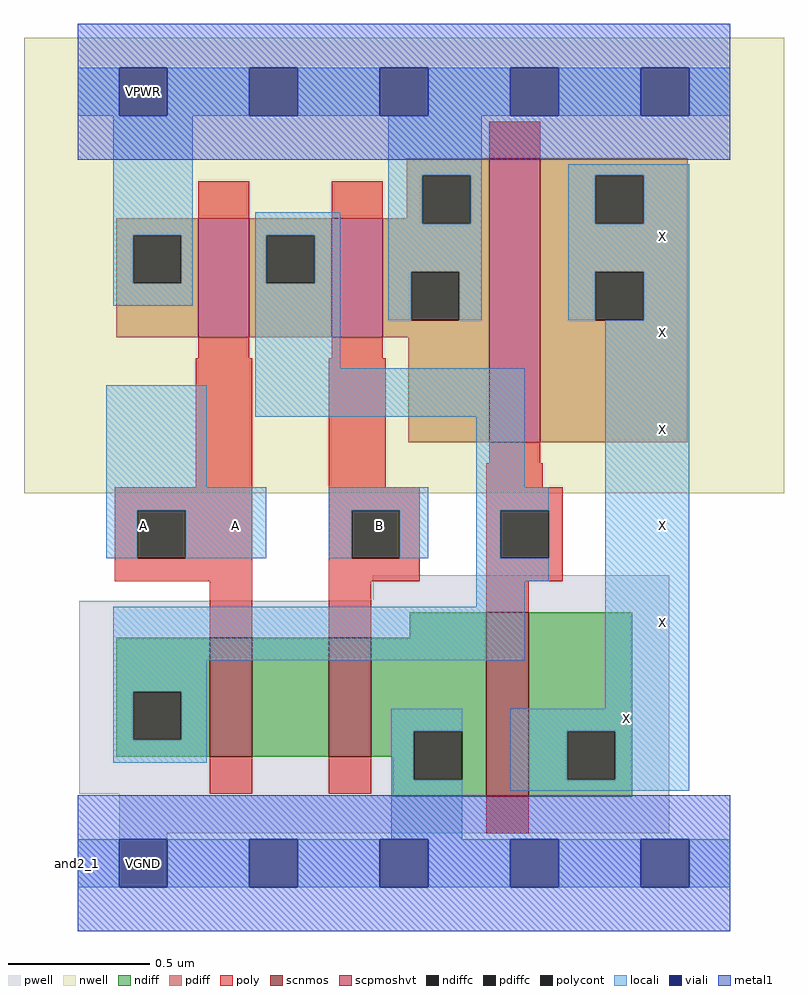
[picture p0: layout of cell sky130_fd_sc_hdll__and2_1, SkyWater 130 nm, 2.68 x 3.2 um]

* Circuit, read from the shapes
.subckt sky130_fd_sc_hdll__and2_1 A B VGND VNB VPB VPWR X
XM1 n1 A n2 VNB sky130_fd_pr__nfet_01v8 w=0.42 l=0.15
XM2 VGND B n1 VNB sky130_fd_pr__nfet_01v8 w=0.42 l=0.15
XM3 X n2 VGND VNB sky130_fd_pr__nfet_01v8 w=0.65 l=0.15
XM4 n2 A VPWR VPB sky130_fd_pr__pfet_01v8_hvt w=0.42 l=0.18
XM5 VPWR B n2 VPB sky130_fd_pr__pfet_01v8_hvt w=0.42 l=0.18
XM6 X n2 VPWR VPB sky130_fd_pr__pfet_01v8_hvt w=1 l=0.18
.ends

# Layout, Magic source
magic
tech sky130A
magscale 1 2
<< nwell >>
rect -38 261 498 582
<< pwell >>
rect 208 185 417 203
rect 1 49 417 185
rect 29 21 417 49
rect 29 -17 63 21
<< scnmos >>
rect 93 75 123 159
rect 177 75 207 159
rect 288 47 318 177
<< scpmoshvt >>
rect 85 371 121 455
rect 179 371 215 455
rect 290 297 326 497
<< ndiff >>
rect 234 159 288 177
rect 27 121 93 159
rect 27 87 39 121
rect 73 87 93 121
rect 27 75 93 87
rect 123 75 177 159
rect 207 93 288 159
rect 207 75 237 93
rect 222 59 237 75
rect 271 59 288 93
rect 222 47 288 59
rect 318 93 391 177
rect 318 59 345 93
rect 379 59 391 93
rect 318 47 391 59
<< pdiff >>
rect 232 485 290 497
rect 232 455 243 485
rect 27 443 85 455
rect 27 409 39 443
rect 73 409 85 443
rect 27 371 85 409
rect 121 443 179 455
rect 121 409 133 443
rect 167 409 179 443
rect 121 371 179 409
rect 215 451 243 455
rect 277 451 290 485
rect 215 417 290 451
rect 215 383 235 417
rect 269 383 290 417
rect 215 371 290 383
rect 233 297 290 371
rect 326 485 430 497
rect 326 451 365 485
rect 399 451 430 485
rect 326 417 430 451
rect 326 383 365 417
rect 399 383 430 417
rect 326 297 430 383
<< ndiffc >>
rect 39 87 73 121
rect 237 59 271 93
rect 345 59 379 93
<< pdiffc >>
rect 39 409 73 443
rect 133 409 167 443
rect 243 451 277 485
rect 235 383 269 417
rect 365 451 399 485
rect 365 383 399 417
<< poly >>
rect 290 497 326 523
rect 85 455 121 481
rect 179 455 215 481
rect 85 356 121 371
rect 179 356 215 371
rect 83 265 123 356
rect 26 249 123 265
rect 26 215 42 249
rect 76 215 123 249
rect 26 199 123 215
rect 93 159 123 199
rect 177 265 217 356
rect 290 282 326 297
rect 288 265 328 282
rect 177 249 241 265
rect 177 215 193 249
rect 227 215 241 249
rect 177 199 241 215
rect 288 249 342 265
rect 288 215 298 249
rect 332 215 342 249
rect 288 199 342 215
rect 177 159 207 199
rect 288 177 318 199
rect 93 49 123 75
rect 177 49 207 75
rect 288 21 318 47
<< polycont >>
rect 42 215 76 249
rect 193 215 227 249
rect 298 215 332 249
<< locali >>
rect 0 527 29 561
rect 63 527 121 561
rect 155 527 213 561
rect 247 527 305 561
rect 339 527 397 561
rect 431 527 460 561
rect 25 443 81 527
rect 219 485 285 527
rect 25 409 39 443
rect 73 409 81 443
rect 25 393 81 409
rect 125 443 185 459
rect 125 409 133 443
rect 167 409 185 443
rect 125 349 185 409
rect 219 451 243 485
rect 277 451 285 485
rect 219 417 285 451
rect 219 383 235 417
rect 269 383 285 417
rect 346 485 431 493
rect 346 451 365 485
rect 399 451 431 485
rect 346 417 431 451
rect 346 383 365 417
rect 399 383 431 417
rect 20 265 91 337
rect 125 315 315 349
rect 281 265 315 315
rect 20 249 133 265
rect 20 215 42 249
rect 76 215 133 249
rect 177 249 247 265
rect 177 215 193 249
rect 227 215 247 249
rect 281 249 332 265
rect 281 215 298 249
rect 281 199 332 215
rect 281 181 315 199
rect 25 143 315 181
rect 25 121 91 143
rect 25 87 39 121
rect 73 87 91 121
rect 372 109 431 383
rect 25 71 91 87
rect 221 93 271 109
rect 221 59 237 93
rect 221 17 271 59
rect 305 93 431 109
rect 305 59 345 93
rect 379 59 431 93
rect 305 51 431 59
rect 0 -17 29 17
rect 63 -17 121 17
rect 155 -17 213 17
rect 247 -17 305 17
rect 339 -17 397 17
rect 431 -17 460 17
<< viali >>
rect 29 527 63 561
rect 121 527 155 561
rect 213 527 247 561
rect 305 527 339 561
rect 397 527 431 561
rect 29 -17 63 17
rect 121 -17 155 17
rect 213 -17 247 17
rect 305 -17 339 17
rect 397 -17 431 17
<< metal1 >>
rect 0 561 460 592
rect 0 527 29 561
rect 63 527 121 561
rect 155 527 213 561
rect 247 527 305 561
rect 339 527 397 561
rect 431 527 460 561
rect 0 496 460 527
rect 0 17 460 48
rect 0 -17 29 17
rect 63 -17 121 17
rect 155 -17 213 17
rect 247 -17 305 17
rect 339 -17 397 17
rect 431 -17 460 17
rect 0 -48 460 -17
<< labels >>
flabel metal1 s 29 527 63 561 0 FreeSans 200 0 0 0 VPWR
port 6 nsew power bidirectional
flabel metal1 s 29 -17 63 17 0 FreeSans 200 0 0 0 VGND
port 3 nsew ground bidirectional
flabel locali s 395 153 429 187 0 FreeSans 250 0 0 0 X
port 7 nsew signal output
flabel locali s 387 102 387 102 0 FreeSans 250 0 0 0 X
port 7 nsew
flabel locali s 395 221 429 255 0 FreeSans 250 0 0 0 X
port 7 nsew
flabel locali s 395 289 429 323 0 FreeSans 250 0 0 0 X
port 7 nsew
flabel locali s 395 357 429 391 0 FreeSans 250 0 0 0 X
port 7 nsew
flabel locali s 395 425 429 459 0 FreeSans 250 0 0 0 X
port 7 nsew
flabel locali s 191 221 235 255 0 FreeSans 250 0 0 0 B
port 2 nsew signal input
flabel locali s 89 221 133 255 0 FreeSans 250 0 0 0 A
port 1 nsew signal input
flabel locali s 46 238 46 238 0 FreeSans 250 0 0 0 A
port 1 nsew
flabel nwell s 29 527 63 561 0 FreeSans 200 0 0 0 VPB
port 5 nsew power bidirectional
flabel pwell s 29 -17 63 17 0 FreeSans 200 0 0 0 VNB
port 4 nsew ground bidirectional
rlabel comment s 0 0 0 0 4 and2_1
<< properties >>
string LEFsite unithd
string LEFclass CORE
string FIXED_BBOX 0 0 460 544
string GDS_FILE $PDKPATH/libs.ref/sky130_fd_sc_hdll/gds/sky130_fd_sc_hdll.gds
string LEFsymmetry X Y R90
string GDS_END 1757582
string GDS_START 1752740
string LEFproperties maskLayoutSubType "abstract" prCellType "standard" originalViewName "layout"
<< end >>
